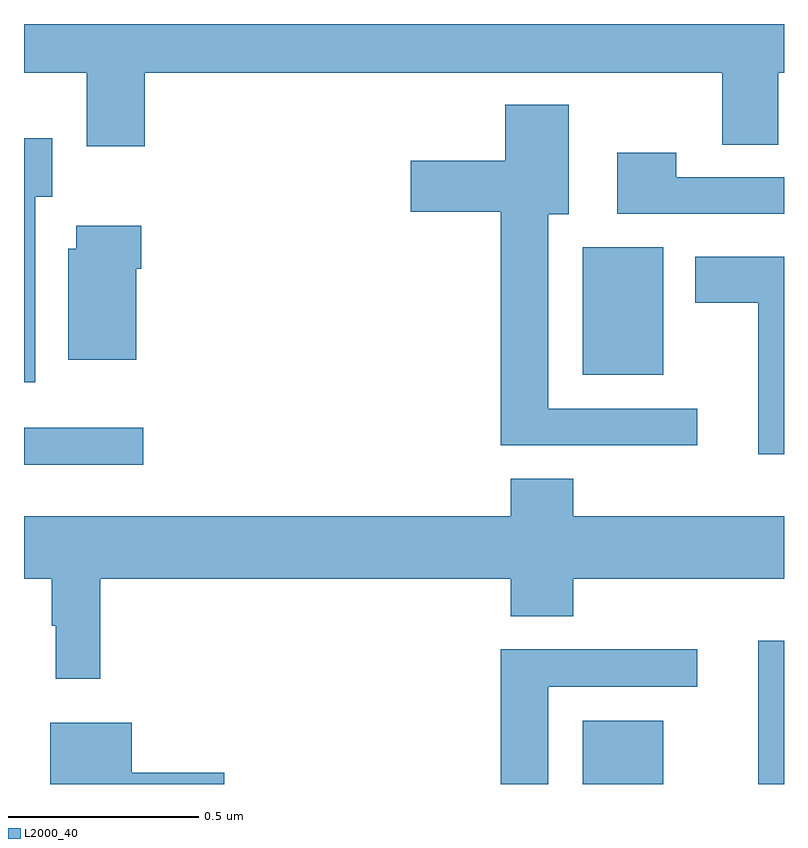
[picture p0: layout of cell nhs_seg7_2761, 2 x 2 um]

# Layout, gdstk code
import gdstk
lib = gdstk.Library(unit=1e-6, precision=1e-09)
def R(c, l, rs):  # rectangles x0, y0, x1, y1
    for r in rs: c.add(gdstk.rectangle(r[:2], r[2:], *l))
def P(c, l, *ps):  # polygons
    for p in ps: c.add(gdstk.Polygon(p, *l))
L2000_40 = (2000, 40)

nhs_seg7_2761 = lib.new_cell('nhs_seg7_2761')
R(nhs_seg7_2761, L2000_40, [(150.47,1076,150.682,1076.167), (150.932,1076,151,1076.377), (149,1076.84,149.314,1076.937), (150.47,1077.077,150.682,1077.412)])
P(nhs_seg7_2761, L2000_40, [(149.318,1077.872),(150.838,1077.872),(150.838,1077.682),(150.985,1077.682),(150.985,1077.872),(151,1077.872),(151,1078),(149,1078),(149,1077.872),(149.165,1077.872),(149.165,1077.678),(149.318,1077.678)],
  [(150.772,1076.988),(150.379,1076.988),(150.379,1077.5),(150.433,1077.5),(150.433,1077.787),(150.266,1077.787),(150.266,1077.64),(150.018,1077.64),(150.018,1077.506),(150.254,1077.506),(150.254,1076.891),(150.772,1076.891)],
  [(149.029,1077.546),(149.074,1077.546),(149.074,1077.7),(149,1077.7),(149,1077.057),(149.029,1077.057)],
  [(151,1077.597),(150.717,1077.597),(150.717,1077.661),(150.561,1077.661),(150.561,1077.501),(151,1077.501)],
  [(149.296,1077.356),(149.309,1077.356),(149.309,1077.469),(149.138,1077.469),(149.138,1077.408),(149.117,1077.408),(149.117,1077.116),(149.296,1077.116)],
  [(151,1077.388),(150.767,1077.388),(150.767,1077.266),(150.932,1077.266),(150.932,1076.868),(151,1076.868)],
  [(149.201,1076.54),(150.281,1076.54),(150.281,1076.441),(150.446,1076.441),(150.446,1076.54),(151,1076.54),(151,1076.704),(150.446,1076.704),(150.446,1076.803),(150.281,1076.803),(150.281,1076.704),(149,1076.704),(149,1076.54),(149.073,1076.54),(149.073,1076.417),(149.084,1076.417),(149.084,1076.277),(149.201,1076.277)],
  [(150.379,1076.256),(150.772,1076.256),(150.772,1076.354),(150.254,1076.354),(150.254,1076),(150.379,1076)],
  [(149.527,1076.03),(149.284,1076.03),(149.284,1076.161),(149.069,1076.161),(149.069,1076),(149.527,1076)])

lib.write_gds('nhs_seg7_2761.gds')
